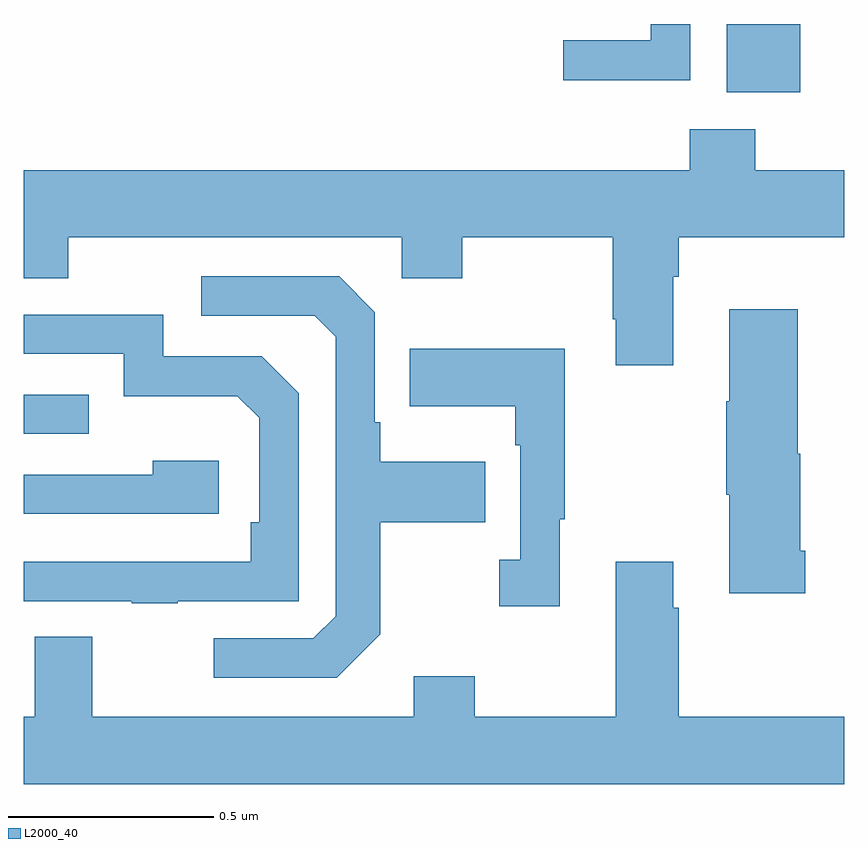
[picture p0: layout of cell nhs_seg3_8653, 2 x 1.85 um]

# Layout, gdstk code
import gdstk
lib = gdstk.Library(unit=1e-6, precision=1e-09)
def R(c, l, rs):  # rectangles x0, y0, x1, y1
    for r in rs: c.add(gdstk.rectangle(r[:2], r[2:], *l))
def P(c, l, *ps):  # polygons
    for p in ps: c.add(gdstk.Polygon(p, *l))
L2000_40 = (2000, 40)

nhs_seg3_8653 = lib.new_cell('nhs_seg3_8653')
R(nhs_seg3_8653, L2000_40, [(218,736.401,218.159,736.497), (219.713,737.234,219.892,737.4)])
P(nhs_seg3_8653, L2000_40, [(219.624,737.4),(219.528,737.4),(219.528,737.361),(219.315,737.361),(219.315,737.263),(219.624,737.263)],
  [(219.583,736.784),(219.596,736.784),(219.596,736.88),(220,736.88),(220,737.044),(219.783,737.044),(219.783,737.143),(219.623,737.143),(219.623,737.044),(218,737.044),(218,736.781),(218.109,736.781),(218.109,736.88),(218.922,736.88),(218.922,736.781),(219.069,736.781),(219.069,736.88),(219.436,736.88),(219.436,736.681),(219.443,736.681),(219.443,736.569),(219.583,736.569)],
  [(218.869,735.913),(218.869,736.186),(219.125,736.186),(219.125,736.333),(218.869,736.333),(218.869,736.429),(218.856,736.429),(218.856,736.698),(218.769,736.785),(218.433,736.785),(218.433,736.689),(218.709,736.689),(218.76,736.638),(218.76,735.957),(218.706,735.903),(218.463,735.903),(218.463,735.807),(218.763,735.807)],
  [(219.905,736.117),(219.892,736.117),(219.892,736.353),(219.887,736.353),(219.887,736.705),(219.719,736.705),(219.719,736.481),(219.712,736.481),(219.712,736.253),(219.719,736.253),(219.719,736.013),(219.905,736.013)],
  [(218.375,735.993),(218.67,735.993),(218.67,736.5),(218.58,736.59),(218.34,736.59),(218.34,736.692),(218,736.692),(218,736.596),(218.244,736.596),(218.244,736.493),(218.521,736.493),(218.574,736.44),(218.574,736.186),(218.554,736.186),(218.554,736.089),(218,736.089),(218,735.993),(218.263,735.993),(218.263,735.988),(218.375,735.988)],
  [(219.307,736.193),(219.319,736.193),(219.319,736.609),(218.941,736.609),(218.941,736.469),(219.198,736.469),(219.198,736.373),(219.21,736.373),(219.21,736.094),(219.159,736.094),(219.159,735.981),(219.307,735.981)],
  [(218.476,736.336),(218.315,736.336),(218.315,736.302),(218,736.302),(218,736.206),(218.476,736.206)],
  [(220,735.712),(219.596,735.712),(219.596,735.977),(219.583,735.977),(219.583,736.09),(219.443,736.09),(219.443,735.712),(219.099,735.712),(219.099,735.811),(218.951,735.811),(218.951,735.712),(218.167,735.712),(218.167,735.907),(218.027,735.907),(218.027,735.712),(218,735.712),(218,735.548),(220,735.548)])

lib.write_gds('nhs_seg3_8653.gds')
